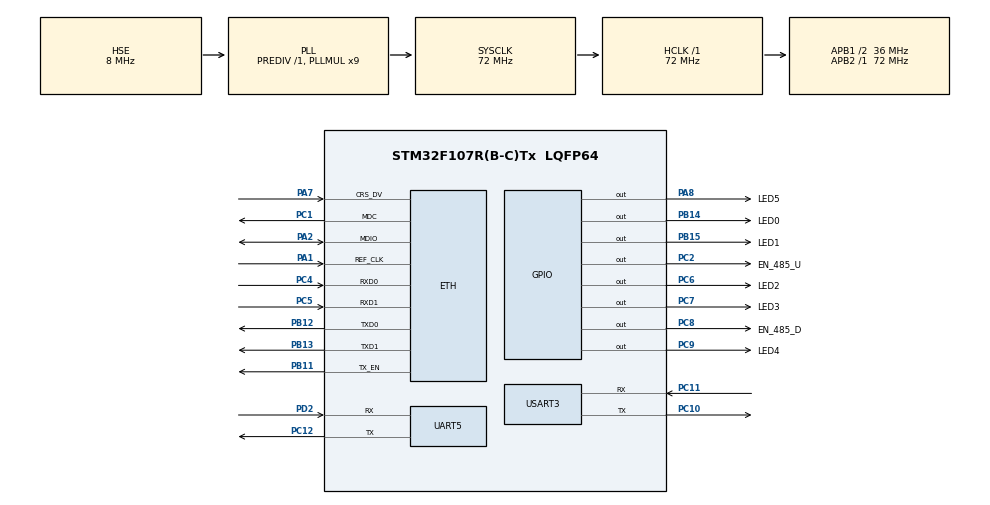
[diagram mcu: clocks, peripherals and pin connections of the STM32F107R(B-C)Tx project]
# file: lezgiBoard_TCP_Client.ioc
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Dma.MEMTOMEM.0.Direction=DMA_MEMORY_TO_MEMORY
Dma.MEMTOMEM.0.Instance=DMA1_Channel1
Dma.MEMTOMEM.0.MemDataAlignment=DMA_MDATAALIGN_BYTE
Dma.MEMTOMEM.0.MemInc=DMA_MINC_ENABLE
Dma.MEMTOMEM.0.Mode=DMA_NORMAL
Dma.MEMTOMEM.0.PeriphDataAlignment=DMA_PDATAALIGN_BYTE
Dma.MEMTOMEM.0.PeriphInc=DMA_PINC_ENABLE
Dma.MEMTOMEM.0.Priority=DMA_PRIORITY_MEDIUM
Dma.Request0=MEMTOMEM
Dma.Request1=USART3_TX
Dma.USART3_TX.1.Direction=DMA_MEMORY_TO_PERIPH
Dma.USART3_TX.1.Instance=DMA1_Channel2
Dma.USART3_TX.1.MemDataAlignment=DMA_MDATAALIGN_BYTE
Dma.USART3_TX.1.MemInc=DMA_MINC_ENABLE
Dma.USART3_TX.1.Mode=DMA_NORMAL
Dma.USART3_TX.1.PeriphDataAlignment=DMA_PDATAALIGN_BYTE
Dma.USART3_TX.1.PeriphInc=DMA_PINC_DISABLE
Dma.USART3_TX.1.Priority=DMA_PRIORITY_LOW
ETH.MediaInterface=ETH_MEDIA_INTERFACE_RMII
IWDG.Prescaler=IWDG_PRESCALER_32
IWDG.Reload=2500
LWIP.LWIP_DNS=1
LWIP.LWIP_NETIF_STATUS_CALLBACK=1
LWIP.Version=v2.0.3_Cube
Mcu.Family=STM32F1
Mcu.Name=STM32F107R(B-C)Tx
Mcu.Package=LQFP64
NVIC.DMA1_Channel1_IRQn=true\:0\:0\:false\:false\:true\:true\:true\:true
NVIC.DMA1_Channel2_IRQn=true\:0\:0\:false\:false\:true\:false\:true\:true
NVIC.ETH_IRQn=true\:0\:0\:false\:false\:true\:true\:true\:true
NVIC.ETH_WKUP_IRQn=true\:0\:0\:false\:false\:true\:true\:true\:true
NVIC.PriorityGroup=NVIC_PRIORITYGROUP_4
NVIC.TIM7_IRQn=true\:15\:0\:false\:false\:true\:false\:true\:true
NVIC.TimeBase=TIM7_IRQn
NVIC.TimeBaseIP=TIM7
NVIC.UART5_IRQn=true\:0\:0\:false\:false\:true\:true\:true\:true
NVIC.USART3_IRQn=true\:0\:0\:false\:false\:true\:true\:true\:true
PA1.Mode=RMII
PA1.Signal=ETH_REF_CLK
PA13.Mode=Serial_Wire
PA13.Signal=SYS_JTMS-SWDIO
PA14.Mode=Serial_Wire
PA14.Signal=SYS_JTCK-SWCLK
PA2.Mode=RMII
PA2.Signal=ETH_MDIO
PA7.Mode=RMII
PA7.Signal=ETH_CRS_DV
PA8.GPIO_Label=LED5
PA8.GPIO_ModeDefaultOutputPP=GPIO_MODE_OUTPUT_PP
PA8.GPIO_PuPd=GPIO_NOPULL
PA8.GPIO_Speed=GPIO_SPEED_FREQ_HIGH
PA8.PinState=GPIO_PIN_RESET
PA8.Signal=GPIO_Output
PB11.Mode=RMII
PB11.Signal=ETH_TX_EN
PB12.Mode=RMII
PB12.Signal=ETH_TXD0
PB13.Mode=RMII
PB13.Signal=ETH_TXD1
PB14.GPIO_Label=LED0
PB14.GPIO_ModeDefaultOutputPP=GPIO_MODE_OUTPUT_PP
PB14.GPIO_PuPd=GPIO_NOPULL
PB14.GPIO_Speed=GPIO_SPEED_FREQ_HIGH
PB14.PinState=GPIO_PIN_RESET
PB14.Signal=GPIO_Output
PB15.GPIO_Label=LED1
PB15.GPIO_ModeDefaultOutputPP=GPIO_MODE_OUTPUT_PP
PB15.GPIO_PuPd=GPIO_NOPULL
PB15.GPIO_Speed=GPIO_SPEED_FREQ_HIGH
PB15.PinState=GPIO_PIN_RESET
PB15.Signal=GPIO_Output
PC1.Mode=RMII
PC1.Signal=ETH_MDC
PC10.Mode=Asynchronous
PC10.Signal=USART3_TX
PC11.Mode=Asynchronous
PC11.Signal=USART3_RX
PC12.Mode=Asynchronous
PC12.Signal=UART5_TX
PC2.GPIO_Label=EN_485_U
PC2.GPIO_Speed=GPIO_SPEED_FREQ_HIGH
PC2.Signal=GPIO_Output
PC4.Mode=RMII
PC4.Signal=ETH_RXD0
PC5.Mode=RMII
PC5.Signal=ETH_RXD1
PC6.GPIO_Label=LED2
PC6.GPIO_ModeDefaultOutputPP=GPIO_MODE_OUTPUT_PP
PC6.GPIO_PuPd=GPIO_NOPULL
PC6.GPIO_Speed=GPIO_SPEED_FREQ_HIGH
PC6.PinState=GPIO_PIN_RESET
PC6.Signal=GPIO_Output
PC7.GPIO_Label=LED3
PC7.GPIO_ModeDefaultOutputPP=GPIO_MODE_OUTPUT_PP
PC7.GPIO_PuPd=GPIO_NOPULL
PC7.GPIO_Speed=GPIO_SPEED_FREQ_HIGH
PC7.PinState=GPIO_PIN_RESET
PC7.Signal=GPIO_Output
PC8.GPIO_Label=EN_485_D
PC8.GPIO_ModeDefaultOutputPP=GPIO_MODE_OUTPUT_PP
PC8.GPIO_PuPd=GPIO_NOPULL
PC8.GPIO_Speed=GPIO_SPEED_FREQ_HIGH
PC8.PinState=GPIO_PIN_RESET
PC8.Signal=GPIO_Output
PC9.GPIO_Label=LED4
PC9.GPIO_ModeDefaultOutputPP=GPIO_MODE_OUTPUT_PP
PC9.GPIO_PuPd=GPIO_NOPULL
PC9.GPIO_Speed=GPIO_SPEED_FREQ_HIGH
PC9.PinState=GPIO_PIN_RESET
PC9.Signal=GPIO_Output
PD0-OSC_IN.Mode=HSE-External-Oscillator
PD0-OSC_IN.Signal=RCC_OSC_IN
PD1-OSC_OUT.Mode=HSE-External-Oscillator
PD1-OSC_OUT.Signal=RCC_OSC_OUT
PD2.Mode=Asynchronous
PD2.Signal=UART5_RX
ProjectManager.HeapSize=0x200
ProjectManager.StackSize=0x400
ProjectManager.TargetToolchain=STM32CubeIDE
RCC.AHBFreq_Value=72000000
RCC.APB1CLKDivider=RCC_HCLK_DIV2
RCC.APB1Freq_Value=36000000
RCC.APB1TimFreq_Value=72000000
RCC.APB2Freq_Value=72000000
RCC.APB2TimFreq_Value=72000000
RCC.EnbaleCSS=true
RCC.HCLKFreq_Value=72000000
RCC.PLLMUL=RCC_PLL_MUL9
RCC.PLLSourceVirtual=RCC_PLLSOURCE_HSE
RCC.SYSCLKFreq_VALUE=72000000
RCC.SYSCLKSource=RCC_SYSCLKSOURCE_PLLCLK
RCC.USBFreq_Value=48000000
UART5.VirtualMode=Asynchronous
USART3.VirtualMode=VM_ASYNC
VP_IWDG_VS_IWDG.Mode=IWDG_Activate
VP_LWIP_VS_Enabled.Mode=Enabled
VP_SYS_VS_tim7.Mode=TIM7
board=custom

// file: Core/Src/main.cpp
/* USER CODE BEGIN Header */
/**
  ******************************************************************************
  * @file           : main.c
  * @brief          : Main program body
  ******************************************************************************
  * @attention
  *
  * Copyright (c) 2026 STMicroelectronics.
  * All rights reserved.
  *
  * This software is licensed under terms that can be found in the LICENSE file
  * in the root directory of this software component.
  * If no LICENSE file comes with this software, it is provided AS-IS.
  *
  ******************************************************************************
  */
/* USER CODE END Header */
#include <tcp_client.hpp>
#include "main.h"
#include "lwip.h"

/* USER CODE BEGIN Includes */
#include "lwip/netif.h"
#include "ArduinoJson.h"
//#include "ArduinoJson.hpp"
/* USER CODE END Includes */

IWDG_HandleTypeDef hiwdg;

UART_HandleTypeDef huart5;
UART_HandleTypeDef huart3;
DMA_HandleTypeDef hdma_usart3_tx;

DMA_HandleTypeDef hdma_memtomem_dma1_channel1;
/* USER CODE BEGIN PV */
uint32_t nextLedTime,checkLinkState;
GPIO_PinState currentState;
uint8_t NetBiosName[100];
char buffer[200];
TCPClient *client = nullptr;
bool clientState = false;
err_t err;

extern struct netif gnetif;

uint8_t IPAddr[4],NetMask[4],Gateway[4],GIP[4];
/* USER CODE END PV */

void SystemClock_Config(void);
static void MX_GPIO_Init(void);
static void MX_DMA_Init(void);
static void MX_IWDG_Init(void);
static void MX_UART5_Init(void);
static void MX_USART3_UART_Init(void);
/* USER CODE BEGIN PFP */
void ReadIP(void);
/* USER CODE END PFP */

/* USER CODE BEGIN 0 */
void onTCPConnected(TCPClient *_client)
{
	sprintf(buffer,"Time : %07d\r\n",HAL_GetTick()/1000);
	//err = tcp_Client_SendString(client, (uint8_t *)buffer, sizeof(buffer));
	clientState = _client->isConnected();
	if(clientState)
	{
		err = _client->SendData((uint8_t *)buffer, sizeof(buffer));
	}
}
/* USER CODE END 0 */

int main(void)
{

  /* MCU Configuration--------------------------------------------------------*/

  /* Reset of all peripherals, Initializes the Flash interface and the Systick. */
  HAL_Init();

  /* Configure the system clock */
  SystemClock_Config();

  /* Initialize all configured peripherals */
  MX_GPIO_Init();
  MX_DMA_Init();
  MX_IWDG_Init();
  MX_LWIP_Init();
  MX_UART5_Init();
  MX_USART3_UART_Init();
  /* USER CODE BEGIN 2 */
  __HAL_IWDG_START(&hiwdg);
  HAL_IWDG_Refresh(&hiwdg);
  currentState = GPIO_PIN_RESET;
  nextLedTime = HAL_GetTick() + 500;
  checkLinkState = HAL_GetTick() + 1000;
  sprintf((char*)NetBiosName,"LWIPClient");
  netif_set_hostname(&gnetif,(char*)NetBiosName);
  HAL_IWDG_Refresh(&hiwdg);
  client = new TCPClient();
  client->setConnectEvent(onTCPConnected);
  /* USER CODE END 2 */

  /* Infinite loop */
  /* USER CODE BEGIN WHILE */
  HAL_GPIO_WritePin(LED0_GPIO_Port, LED0_Pin, GPIO_PIN_SET);
  while (1)
  {
	  MX_LWIP_Process();
	  HAL_IWDG_Refresh(&hiwdg);

    /* USER CODE END WHILE */

  }
}

void SystemClock_Config(void)
{
  RCC_OscInitTypeDef RCC_OscInitStruct = {0};
  RCC_ClkInitTypeDef RCC_ClkInitStruct = {0};

  /** Initializes the RCC Oscillators according to the specified parameters
  * in the RCC_OscInitTypeDef structure.
  */
  RCC_OscInitStruct.OscillatorType = RCC_OSCILLATORTYPE_LSI|RCC_OSCILLATORTYPE_HSE;
  RCC_OscInitStruct.HSEState = RCC_HSE_ON;
  RCC_OscInitStruct.HSEPredivValue = RCC_HSE_PREDIV_DIV1;
  RCC_OscInitStruct.HSIState = RCC_HSI_ON;
  RCC_OscInitStruct.LSIState = RCC_LSI_ON;
  RCC_OscInitStruct.Prediv1Source = RCC_PREDIV1_SOURCE_HSE;
  RCC_OscInitStruct.PLL.PLLState = RCC_PLL_ON;
  RCC_OscInitStruct.PLL.PLLSource = RCC_PLLSOURCE_HSE;
  RCC_OscInitStruct.PLL.PLLMUL = RCC_PLL_MUL9;
  RCC_OscInitStruct.PLL2.PLL2State = RCC_PLL_NONE;
  if (HAL_RCC_OscConfig(&RCC_OscInitStruct) != HAL_OK)
  {
    Error_Handler();
  }

  /** Initializes the CPU, AHB and APB buses clocks
  */
  RCC_ClkInitStruct.ClockType = RCC_CLOCKTYPE_HCLK|RCC_CLOCKTYPE_SYSCLK
                              |RCC_CLOCKTYPE_PCLK1|RCC_CLOCKTYPE_PCLK2;
  RCC_ClkInitStruct.SYSCLKSource = RCC_SYSCLKSOURCE_PLLCLK;
  RCC_ClkInitStruct.AHBCLKDivider = RCC_SYSCLK_DIV1;
  RCC_ClkInitStruct.APB1CLKDivider = RCC_HCLK_DIV2;
  RCC_ClkInitStruct.APB2CLKDivider = RCC_HCLK_DIV1;

  if (HAL_RCC_ClockConfig(&RCC_ClkInitStruct, FLASH_LATENCY_2) != HAL_OK)
  {
    Error_Handler();
  }

  /** Enables the Clock Security System
  */
  HAL_RCC_EnableCSS();

  /** Configure the Systick interrupt time
  */
  __HAL_RCC_PLLI2S_ENABLE();
}

static void MX_IWDG_Init(void)
{

  hiwdg.Instance = IWDG;
  hiwdg.Init.Prescaler = IWDG_PRESCALER_32;
  hiwdg.Init.Reload = 2500;
  if (HAL_IWDG_Init(&hiwdg) != HAL_OK)
  {
    Error_Handler();
  }

}

static void MX_UART5_Init(void)
{

  huart5.Instance = UART5;
  huart5.Init.BaudRate = 115200;
  huart5.Init.WordLength = UART_WORDLENGTH_8B;
  huart5.Init.StopBits = UART_STOPBITS_1;
  huart5.Init.Parity = UART_PARITY_NONE;
  huart5.Init.Mode = UART_MODE_TX_RX;
  huart5.Init.HwFlowCtl = UART_HWCONTROL_NONE;
  huart5.Init.OverSampling = UART_OVERSAMPLING_16;
  if (HAL_UART_Init(&huart5) != HAL_OK)
  {
    Error_Handler();
  }

}

static void MX_USART3_UART_Init(void)
{

  huart3.Instance = USART3;
  huart3.Init.BaudRate = 115200;
  huart3.Init.WordLength = UART_WORDLENGTH_8B;
  huart3.Init.StopBits = UART_STOPBITS_1;
  huart3.Init.Parity = UART_PARITY_NONE;
  huart3.Init.Mode = UART_MODE_TX_RX;
  huart3.Init.HwFlowCtl = UART_HWCONTROL_NONE;
  huart3.Init.OverSampling = UART_OVERSAMPLING_16;
  if (HAL_UART_Init(&huart3) != HAL_OK)
  {
    Error_Handler();
  }

}

static void MX_DMA_Init(void)
{

  /* DMA controller clock enable */
  __HAL_RCC_DMA1_CLK_ENABLE();

  /* Configure DMA request hdma_memtomem_dma1_channel1 on DMA1_Channel1 */
  hdma_memtomem_dma1_channel1.Instance = DMA1_Channel1;
  hdma_memtomem_dma1_channel1.Init.Direction = DMA_MEMORY_TO_MEMORY;
  hdma_memtomem_dma1_channel1.Init.PeriphInc = DMA_PINC_ENABLE;
  hdma_memtomem_dma1_channel1.Init.MemInc = DMA_MINC_ENABLE;
  hdma_memtomem_dma1_channel1.Init.PeriphDataAlignment = DMA_PDATAALIGN_BYTE;
  hdma_memtomem_dma1_channel1.Init.MemDataAlignment = DMA_MDATAALIGN_BYTE;
  hdma_memtomem_dma1_channel1.Init.Mode = DMA_NORMAL;
  hdma_memtomem_dma1_channel1.Init.Priority = DMA_PRIORITY_MEDIUM;
  if (HAL_DMA_Init(&hdma_memtomem_dma1_channel1) != HAL_OK)
  {
    Error_Handler( );
  }

  /* DMA interrupt init */
  /* DMA1_Channel1_IRQn interrupt configuration */
  HAL_NVIC_SetPriority(DMA1_Channel1_IRQn, 0, 0);
  HAL_NVIC_EnableIRQ(DMA1_Channel1_IRQn);
  /* DMA1_Channel2_IRQn interrupt configuration */
  HAL_NVIC_SetPriority(DMA1_Channel2_IRQn, 0, 0);
  HAL_NVIC_EnableIRQ(DMA1_Channel2_IRQn);

}

static void MX_GPIO_Init(void)
{
  GPIO_InitTypeDef GPIO_InitStruct = {0};

  /* GPIO Ports Clock Enable */
  __HAL_RCC_GPIOD_CLK_ENABLE();
  __HAL_RCC_GPIOC_CLK_ENABLE();
  __HAL_RCC_GPIOA_CLK_ENABLE();
  __HAL_RCC_GPIOB_CLK_ENABLE();

  /*Configure GPIO pin Output Level */
  HAL_GPIO_WritePin(GPIOC, EN_485_U_Pin|LED2_Pin|LED3_Pin|EN_485_D_Pin
                          |LED4_Pin, GPIO_PIN_RESET);

  /*Configure GPIO pin Output Level */
  HAL_GPIO_WritePin(GPIOB, LED0_Pin|LED1_Pin, GPIO_PIN_RESET);

  /*Configure GPIO pin Output Level */
  HAL_GPIO_WritePin(LED5_GPIO_Port, LED5_Pin, GPIO_PIN_RESET);

  /*Configure GPIO pins : EN_485_U_Pin LED2_Pin LED3_Pin EN_485_D_Pin
                           LED4_Pin */
  GPIO_InitStruct.Pin = EN_485_U_Pin|LED2_Pin|LED3_Pin|EN_485_D_Pin
                          |LED4_Pin;
  GPIO_InitStruct.Mode = GPIO_MODE_OUTPUT_PP;
  GPIO_InitStruct.Pull = GPIO_NOPULL;
  GPIO_InitStruct.Speed = GPIO_SPEED_FREQ_HIGH;
  HAL_GPIO_Init(GPIOC, &GPIO_InitStruct);

  /*Configure GPIO pins : LED0_Pin LED1_Pin */
  GPIO_InitStruct.Pin = LED0_Pin|LED1_Pin;
  GPIO_InitStruct.Mode = GPIO_MODE_OUTPUT_PP;
  GPIO_InitStruct.Pull = GPIO_NOPULL;
  GPIO_InitStruct.Speed = GPIO_SPEED_FREQ_HIGH;
  HAL_GPIO_Init(GPIOB, &GPIO_InitStruct);

  /*Configure GPIO pin : LED5_Pin */
  GPIO_InitStruct.Pin = LED5_Pin;
  GPIO_InitStruct.Mode = GPIO_MODE_OUTPUT_PP;
  GPIO_InitStruct.Pull = GPIO_NOPULL;
  GPIO_InitStruct.Speed = GPIO_SPEED_FREQ_HIGH;
  HAL_GPIO_Init(LED5_GPIO_Port, &GPIO_InitStruct);

}

/* USER CODE BEGIN 4 */
void ReadIP(void)
{
	IPAddr[0] = gnetif.ip_addr.addr >> 0;
	IPAddr[1] = gnetif.ip_addr.addr >> 8;
	IPAddr[2] = gnetif.ip_addr.addr >> 16;
	IPAddr[3] = gnetif.ip_addr.addr >> 24;

	NetMask[0] = gnetif.netmask.addr >> 0;
	NetMask[1] = gnetif.netmask.addr >> 8;
	NetMask[2] = gnetif.netmask.addr >> 16;
	NetMask[3] = gnetif.netmask.addr >> 24;

	Gateway[0] = gnetif.gw.addr >> 0;
	Gateway[1] = gnetif.gw.addr >> 8;
	Gateway[2] = gnetif.gw.addr >> 16;
	Gateway[3] = gnetif.gw.addr >> 24;
}
/* USER CODE END 4 */

void HAL_TIM_PeriodElapsedCallback(TIM_HandleTypeDef *htim)
{
  if (htim->Instance == TIM7)
  {
    HAL_IncTick();
    if(HAL_GetTick() >= checkLinkState)
    {
    	checkLinkState = HAL_GetTick() + 1000;
    	if (netif_is_link_up(&gnetif))
		{
			HAL_GPIO_WritePin(LED4_GPIO_Port, LED4_Pin, GPIO_PIN_SET);
		}
		else
		{
			HAL_GPIO_WritePin(LED4_GPIO_Port, LED4_Pin, GPIO_PIN_RESET);
		}

		if (netif_is_up(&gnetif))
		{
			HAL_GPIO_WritePin(LED5_GPIO_Port, LED5_Pin, GPIO_PIN_SET);
			if(IPAddr[0] == 0)
			{
				ReadIP();
			}
			else
			{
				if(!client->isConnected())
				{
					GIP[0] = 192;
					GIP[1] = 168;
					GIP[2] = 1;
					GIP[3] = 100;
					err = client->connect(1000, GIP);
				}
				else
				{
					JsonDocument doc;
					doc["Type"] = "TR";
					doc["Ver"] = "00.00.01";
					doc["UUID"] = "2525";
					doc["DN"] = "ESP";
					doc["Time"] = HAL_GetTick()/1000;
					serializeJson(doc, (char *)buffer, sizeof(buffer));
					//sprintf(buffer,"Time : %07d\r\n",HAL_GetTick()/1000);
					err = client->SendData((uint8_t *)buffer, strlen(buffer));
				}
			}
		}
		else
		{
			HAL_GPIO_WritePin(LED5_GPIO_Port, LED5_Pin, GPIO_PIN_RESET);
		}
    }
    if(HAL_GetTick() >= nextLedTime)
	{
		nextLedTime = HAL_GetTick() + 500;
		//HAL_GPIO_WritePin(LED0_GPIO_Port, LED0_Pin, currentState);
		//HAL_GPIO_WritePin(LED1_GPIO_Port, LED1_Pin, currentState);
		//HAL_GPIO_WritePin(LED2_GPIO_Port, LED2_Pin, currentState);
		//HAL_GPIO_WritePin(LED3_GPIO_Port, LED3_Pin, currentState);
		//HAL_GPIO_WritePin(LED4_GPIO_Port, LED4_Pin, currentState);
		//HAL_GPIO_WritePin(LED5_GPIO_Port, LED5_Pin, currentState);
		HAL_GPIO_TogglePin(LED1_GPIO_Port, LED1_Pin);
	}
  }
  /* USER CODE BEGIN Callback 1 */
  if (htim->Instance == TIM7)
    {
		if(HAL_GetTick() >= checkLinkState)
		{
		checkLinkState = HAL_GetTick() + 1000;
		if (netif_is_link_up(&gnetif))
		{
			HAL_GPIO_WritePin(LED4_GPIO_Port, LED4_Pin, GPIO_PIN_SET);
		}
		else
		{
			HAL_GPIO_WritePin(LED4_GPIO_Port, LED4_Pin, GPIO_PIN_RESET);
		}

		if (netif_is_up(&gnetif))
		{
			HAL_GPIO_WritePin(LED5_GPIO_Port, LED5_Pin, GPIO_PIN_SET);
			if(IPAddr[0] == 0)
			{
				ReadIP();
			}
			else
			{
				if(!client->isConnected())
				{
					GIP[0] = 192;
					GIP[1] = 168;
					GIP[2] = 1;
					GIP[3] = 100;
					err = client->connect(1000, GIP);
				}
				else
				{
					JsonDocument doc;
					doc["Type"] = "TR";
					doc["Ver"] = "00.00.01";
					doc["UUID"] = "2525";
					doc["DN"] = "ESP";
					doc["Time"] = HAL_GetTick()/1000;
					serializeJson(doc, (char *)buffer, sizeof(buffer));
					//sprintf(buffer,"Time : %07d\r\n",HAL_GetTick()/1000);
					err = client->SendData((uint8_t *)buffer, strlen(buffer));
				}
			}
		}
		else
		{
			HAL_GPIO_WritePin(LED5_GPIO_Port, LED5_Pin, GPIO_PIN_RESET);
		}
		}
		if(HAL_GetTick() >= nextLedTime)
		{
			nextLedTime = HAL_GetTick() + 500;
			//HAL_GPIO_WritePin(LED0_GPIO_Port, LED0_Pin, currentState);
			//HAL_GPIO_WritePin(LED1_GPIO_Port, LED1_Pin, currentState);
			//HAL_GPIO_WritePin(LED2_GPIO_Port, LED2_Pin, currentState);
			//HAL_GPIO_WritePin(LED3_GPIO_Port, LED3_Pin, currentState);
			//HAL_GPIO_WritePin(LED4_GPIO_Port, LED4_Pin, currentState);
			//HAL_GPIO_WritePin(LED5_GPIO_Port, LED5_Pin, currentState);
			HAL_GPIO_TogglePin(LED1_GPIO_Port, LED1_Pin);
		}
    }
  /* USER CODE END Callback 1 */
}

void Error_Handler(void)
{
  __disable_irq();
  while (1)
  {
  }
}
